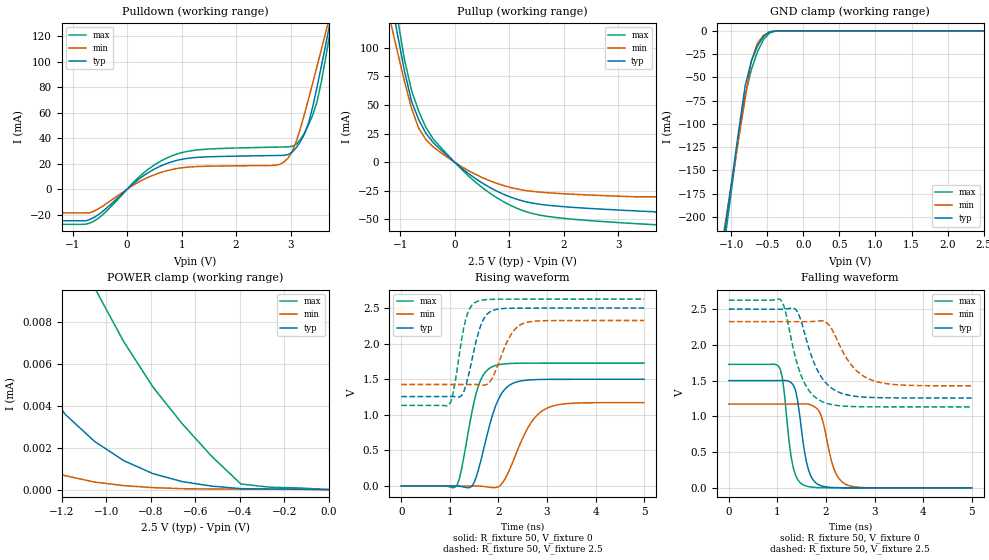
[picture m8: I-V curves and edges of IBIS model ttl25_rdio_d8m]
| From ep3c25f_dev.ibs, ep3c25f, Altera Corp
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[Model] ttl25_rdio_d8m
Model_type I/O
Polarity Non-Inverting
Enable Active-Low
Vinl  = 0.7V
Vinh  = 1.7V
Vmeas = 1.1625V
Rref  = 10M
Cref  = 0pF
Vref  = 0V
C_comp  5.0pF   5.0pF   5.0pF
[Temperature Range] 25   85   0
[Voltage Range]   2.5   2.325   2.625
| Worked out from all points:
|   slope of the pulldown table from 0 to 0.375 V, typ, clamps not added: 29.6 ohm
|   slope of the pullup table from 0 to 0.375 V, typ, clamps not added: 26.7 ohm
|   GND clamp passes 1 mA (typ) near -0.45 V on its own axis
|   rising waveform, R_fixture 50, V_fixture 0: 20-80 % time 371ps typ, 492ps min, 306ps max; typ from 0 V to 1.5 V
|   falling waveform, R_fixture 50, V_fixture 0: 20-80 % time 201ps typ, 252ps min, 176ps max; typ from 1.5 V to 0 V
|   rising waveform, R_fixture 50, V_fixture 2.5: 20-80 % time 270ps typ, 345ps min, 220ps max; typ from 1.26 V to 2.5 V
|   falling waveform, R_fixture 50, V_fixture 2.5: 20-80 % time 428ps typ, 508ps min, 374ps max; typ from 2.5 V to 1.26 V
[GND Clamp]
| voltage   I (typ)   I (min)   I (max)
-2.5V     -1.003A    -896.6mA   -1.061A
-1.144V   -246.2mA   -237.3mA   -259.1mA
-1.059V   -198.9mA   -196.1mA   -209mA
-974.6mV  -151.6mA   -154.9mA   -158.9mA
-889.8mV  -104.3mA   -113.6mA   -108.8mA
-805.1mV  -58.87mA   -72.41mA   -68.82mA
-720.3mV  -32.71mA   -32.28mA   -41.9mA
-635.6mV  -16.39mA   -13.32mA   -22.54mA
-550.8mV  -6.002mA   -4.742mA   -9.332mA
-466.1mV  -1.153mA   -978.7uA   -2.246mA
-296.6mV  -4.671uA   -8.865uA   -9.476uA
2.5V      0A         0A         0A
[Pulldown]
| voltage   I (typ)   I (min)   I (max)
-2.5V     -24.64mA   -18.49mA   -27.47mA
-757.6mV  -24.64mA   -18.49mA   -27.35mA
303mV     10.64mA    7.672mA    12.79mA
833.3mV   21.66mA    15.56mA    26.37mA
2.803V    26.47mA    19.51mA    33.06mA
3.03V     29.13mA    29.47mA    33.59mA
3.258V    43.53mA    59.44mA    44.3mA
3.485V    79.89mA    96.19mA    68.56mA
3.636V    111.5mA    121.5mA    101.1mA
3.712V    127.7mA    134.3mA    119.8mA
3.788V    144mA      147.1mA    139mA
5V        393.4mA    354.6mA    427.3mA
[POWER Clamp]
| voltage   I (typ)   I (min)   I (max)
-2.5V     124.2uA    71.4uA     182.5uA
-1.842V   22.83uA    9.323uA    54.47uA
-1.71V    16.91uA    6.328uA    36.85uA
-1.579V   12.15uA    3.972uA    28.84uA
-1.447V   8.324uA    2.282uA    22.32uA
-1.316V   5.498uA    1.229uA    16.96uA
-1.184V   3.593uA    664.1nA    12.8uA
-1.053V   2.304uA    360.8nA    9.644uA
-789.5mV  760.1nA    93.71nA    4.89uA
-526.3mV  168.2nA    28.96nA    1.594uA
-394.7mV  45.58nA    23.7nA     267.4nA
0V        0A         0A         0A
[Pullup]
| voltage   I (typ)   I (min)   I (max)
-2.5V     490.7mA    401.9mA    565.7mA
-1.184V   147.2mA    124.5mA    166.8mA
-1.053V   112.9mA    97.21mA    127.2mA
-921.1mV  79.95mA    70.94mA    89.86mA
-789.5mV  53.17mA    46.89mA    62.52mA
-657.9mV  37.03mA    29.56mA    44.51mA
-526.3mV  25.17mA    19.74mA    30.29mA
263.2mV   -10.22mA   -7.599mA   -12.4mA
1.053V    -30.95mA   -22.39mA   -38.35mA
1.579V    -36.86mA   -26.21mA   -46.38mA
2.237V    -39.67mA   -28.15mA   -50.1mA
5V        -44.1mA    -30.27mA   -55.2mA
[Ramp]
dV/dt_r   9.000e-001/3.713e-010  7.032e-001/4.919e-010  1.036e+000/3.057e-010
dV/dt_f   7.458e-001/4.279e-010  5.388e-001/5.081e-010  8.958e-001/3.738e-010
R_load = 50ohms
[Rising Waveform]
R_fixture   = 50
V_fixture   = 0
V_fixture_min = 0
V_fixture_max = 0
| time   V (typ)   V (min)   V (max)
0s        0V         0V         0V
1.149ns   600.1uV    -119.3uV   16.35mV
1.503ns   55.5mV     844uV      1.198V
1.636ns   352.9mV    -1.53mV    1.493V
1.858ns   951mV      -20.2mV    1.67V
2.035ns   1.266V     7.666mV    1.707V
2.212ns   1.409V     205.7mV    1.72V
2.611ns   1.489V     823.6mV    1.726V
2.965ns   1.498V     1.081V     1.727V
5ns       1.5V       1.172V     1.727V
[Falling Waveform]
R_fixture   = 50
V_fixture   = 0
V_fixture_min = 0
V_fixture_max = 0
| time   V (typ)   V (min)   V (max)
0s        1.5V       1.172V     1.727V
1.06ns    1.501V     1.172V     1.661V
1.326ns   1.44V      1.172V     283.1mV
1.415ns   1.233V     1.173V     118.7mV
1.548ns   552.2mV    1.175V     36.89mV
1.769ns   83.44mV    1.131V     6.677mV
1.902ns   28.99mV    1.01V      2.513mV
2.168ns   4.151mV    261.1mV    363.7uV
2.389ns   864.6uV    56.24mV    70.77uV
5ns       0V         0V         0V
[Rising Waveform]
R_fixture   = 50
V_fixture   = 2.5
V_fixture_min = 2.325
V_fixture_max = 2.625
| time   V (typ)   V (min)   V (max)
0s        1.257V     1.426V     1.132V
971.5ps   1.257V     1.426V     1.133V
1.06ns    1.258V     1.426V     1.286V
1.282ns   1.316V     1.426V     2.21V
1.415ns   1.647V     1.426V     2.502V
1.548ns   2.052V     1.426V     2.588V
1.813ns   2.441V     1.454V     2.62V
2.256ns   2.498V     2.124V     2.624V
2.522ns   2.499V     2.286V     2.625V
5ns       2.5V       2.325V     2.625V
[Falling Waveform]
R_fixture   = 50
V_fixture   = 2.5
V_fixture_min = 2.325
V_fixture_max = 2.625
| time   V (typ)   V (min)   V (max)
0s        2.5V       2.325V     2.625V
1.06ns    2.499V     2.324V     2.636V
1.149ns   2.501V     2.324V     2.513V
1.37ns    2.5V       2.324V     1.826V
1.503ns   2.303V     2.324V     1.546V
1.725ns   1.802V     2.327V     1.301V
1.946ns   1.51V      2.333V     1.199V
2.522ns   1.289V     1.719V     1.138V
2.921ns   1.265V     1.513V     1.133V
5ns       1.257V     1.427V     1.132V
